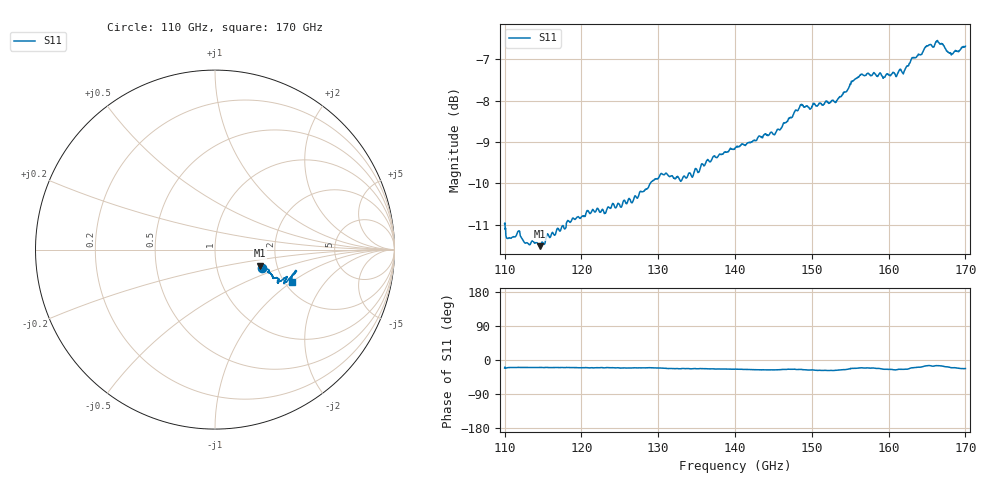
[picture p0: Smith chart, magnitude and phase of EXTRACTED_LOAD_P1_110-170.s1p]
! Generated by Phase I extraction
# Hz S RI R 50
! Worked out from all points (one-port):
!   1471 points, 110 GHz to 170 GHz, reference 50 ohm
!   lowest |S11| = -11.5 dB at 114.6 GHz (marker M1), VSWR 1.72, Z = 81.4 - j15.8 ohm
!   |S11| at or under -10 dB: start of sweep to 129 GHz
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1.1e11  0.2644 -0.1005
1.104898e11  0.2553 -0.0929
1.117959e11  0.2613 -0.092
1.127347e11  0.252 -0.0912
1.145714e11  0.25 -0.09
1.175102e11  0.2644 -0.095
1.208163e11  0.2746 -0.1032
1.250204e11  0.2771 -0.1072
1.304082e11  0.3028 -0.1185
1.325306e11  0.2978 -0.1241
1.4e11  0.3184 -0.1423
1.45102e11  0.3254 -0.159
1.475102e11  0.3472 -0.1576
1.486531e11  0.3572 -0.1659
1.526939e11  0.3529 -0.1847
1.54449e11  0.3694 -0.1731
1.550204e11  0.3863 -0.1578
1.563265e11  0.3989 -0.1527
1.578776e11  0.3986 -0.1545
1.607755e11  0.3848 -0.1899
1.625306e11  0.4007 -0.1775
1.63102e11  0.42 -0.1572
1.640816e11  0.4272 -0.1488
1.651837e11  0.4488 -0.1169
1.657551e11  0.443 -0.1303
1.666531e11  0.4498 -0.1217
1.681633e11  0.4235 -0.1576
1.7e11  0.4274 -0.1778
